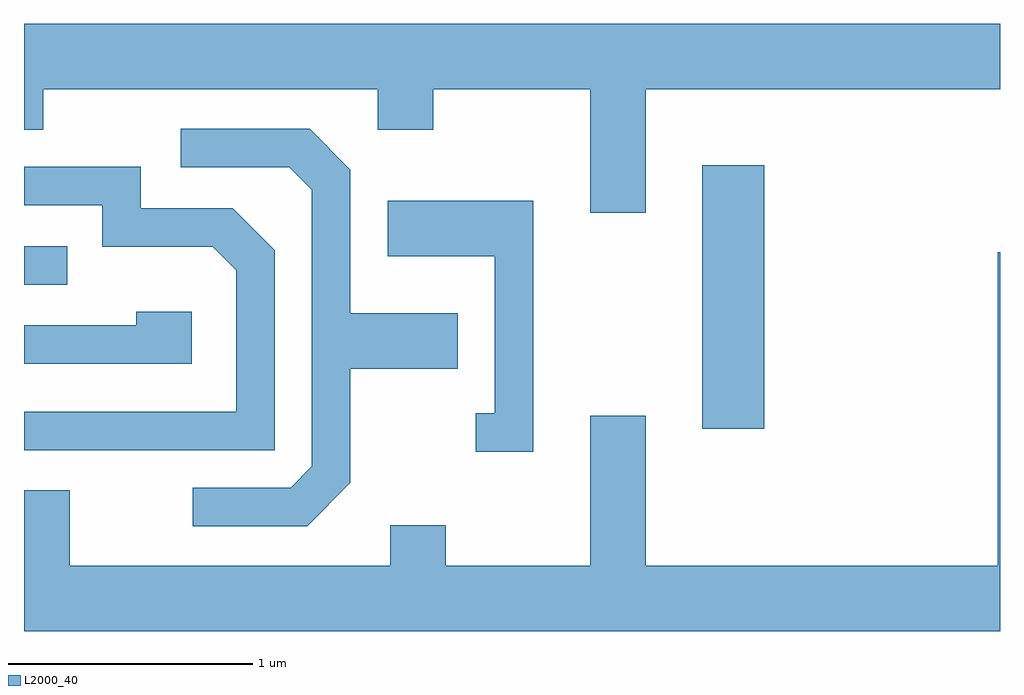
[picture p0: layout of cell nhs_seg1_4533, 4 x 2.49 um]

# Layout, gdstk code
import gdstk
lib = gdstk.Library(unit=1e-6, precision=1e-09)
def R(c, l, rs):  # rectangles x0, y0, x1, y1
    for r in rs: c.add(gdstk.rectangle(r[:2], r[2:], *l))
def P(c, l, *ps):  # polygons
    for p in ps: c.add(gdstk.Polygon(p, *l))
L2000_40 = (2000, 40)

nhs_seg1_4533 = lib.new_cell('nhs_seg1_4533')
R(nhs_seg1_4533, L2000_40, [(324.391,884.866,324.644,885.944), (321.611,885.456,321.788,885.614)])
P(nhs_seg1_4533, L2000_40, [(321.611,886.091),(321.689,886.091),(321.689,886.256),(323.061,886.256),(323.061,886.091),(323.289,886.091),(323.289,886.256),(323.931,886.256),(323.931,885.751),(324.159,885.751),(324.159,886.256),(325.611,886.256),(325.611,886.524),(321.611,886.524)],
  [(322.949,884.644),(322.949,885.111),(323.389,885.111),(323.389,885.339),(322.949,885.339),(322.949,885.927),(322.782,886.094),(322.253,886.094),(322.253,885.936),(322.699,885.936),(322.791,885.844),(322.791,884.712),(322.704,884.624),(322.303,884.624),(322.303,884.466),(322.772,884.466)],
  [(322.639,885.597),(322.467,885.769),(322.089,885.769),(322.089,885.939),(321.611,885.939),(321.611,885.781),(321.931,885.781),(321.931,885.611),(322.384,885.611),(322.481,885.514),(322.481,884.934),(321.611,884.934),(321.611,884.776),(322.639,884.776)],
  [(323.699,885.799),(323.101,885.799),(323.101,885.571),(323.541,885.571),(323.541,884.929),(323.463,884.929),(323.463,884.771),(323.699,884.771)],
  [(325.611,885.589),(325.601,885.589),(325.601,884.304),(324.159,884.304),(324.159,884.919),(323.931,884.919),(323.931,884.304),(323.339,884.304),(323.339,884.469),(323.111,884.469),(323.111,884.304),(321.799,884.304),(321.799,884.614),(321.611,884.614),(321.611,884.036),(325.611,884.036)],
  [(322.299,885.344),(322.071,885.344),(322.071,885.289),(321.611,885.289),(321.611,885.131),(322.299,885.131)])

lib.write_gds('nhs_seg1_4533.gds')
